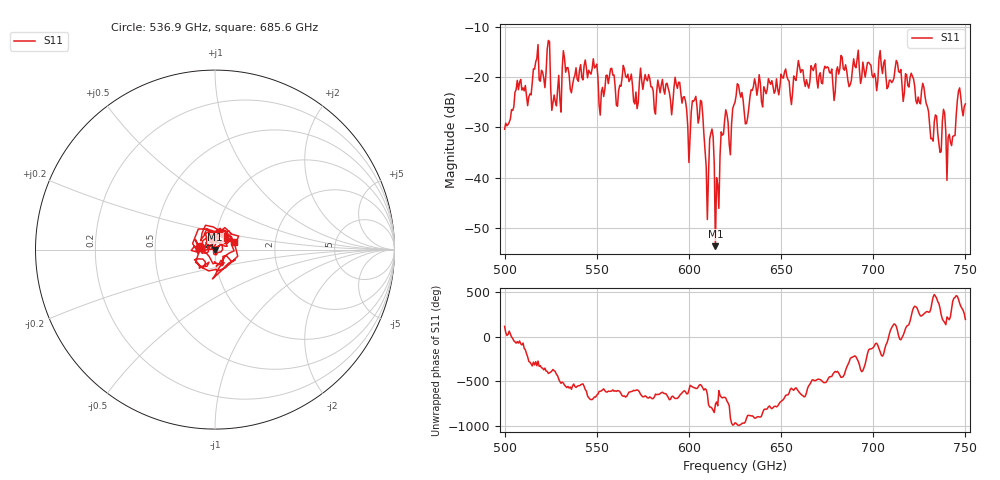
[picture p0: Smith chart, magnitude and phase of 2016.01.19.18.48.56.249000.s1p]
!Created with skrf (http://scikit-rf.org).
# GHz S RI R 50.0
!freq ReS11 ImS11
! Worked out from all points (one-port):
!   401 points, 500 GHz to 750 GHz, reference 50 ohm
!   lowest |S11| = -53.6 dB at 614.4 GHz (marker M1), VSWR 1.00, Z = 50.2 - j0.121 ohm
!   |S11| at or under -10 dB: start of sweep to end of sweep
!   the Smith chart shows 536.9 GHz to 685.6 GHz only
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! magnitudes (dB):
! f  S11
! 500 GHz  -30.4
! 507.5 GHz  -22.5
! 513.1 GHz  -24.0
! 516.9 GHz  -17.0
! 523.8 GHz  -12.7
! 526.9 GHz  -23.6
! 531.2 GHz  -18.4
! 562.5 GHz  -21.6
! 593.8 GHz  -22.3
! 600 GHz  -37.0
! 602.5 GHz  -24.8
! 606.9 GHz  -24.9
! 609.4 GHz  -37.9
! 612.5 GHz  -30.3
! 614.4 GHz  -53.6
! 615.6 GHz  -41.4
! 618.8 GHz  -31.4
! 622.5 GHz  -35.5
! 625 GHz  -25.0
! 631.2 GHz  -29.2
! 635 GHz  -21.9
! 656.2 GHz  -23.0
! 660 GHz  -18.0
! 687.5 GHz  -21.6
! 718.8 GHz  -21.7
! 741.2 GHz  -31.4
! 746.2 GHz  -22.8
! 750 GHz  -25.4
